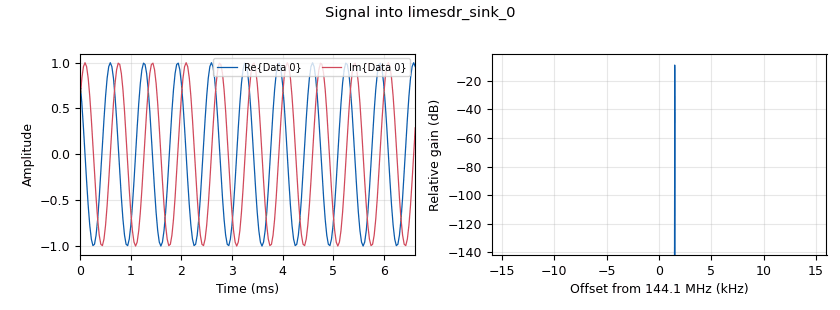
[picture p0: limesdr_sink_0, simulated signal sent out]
options:
  parameters:
    generate_options: qt_gui
    id: sine1k_gui
    output_language: python
    run_options: run
    title: Not titled yet
  states: {}

blocks:
- name: freq
  id: variable_qtgui_range
  parameters:
    orient: Qt.Horizontal
    start: '144000000'
    step: '1000'
    stop: '144500000'
    value: '144100000'
  states: {}
- name: gain
  id: variable_qtgui_range
  parameters:
    orient: Qt.Horizontal
    start: '0'
    step: '1'
    stop: '73'
    value: '14'
  states: {}
- name: mute
  id: variable_qtgui_check_box
  parameters:
    'false': 'False'
    label: mute
    'true': 'True'
    type: int
    value: 'False'
  states: {}
- name: nco
  id: variable_qtgui_range
  parameters:
    orient: Qt.Horizontal
    start: '-1000'
    step: '1'
    stop: '1000'
    value: '0'
  states: {}
- name: samp_rate
  id: variable
  parameters:
    value: '32000'
  states: {}
- name: analog_sig_source_x_0
  id: analog_sig_source_x
  parameters:
    amp: '1'
    freq: '1500'
    offset: '0'
    phase: '0'
    samp_rate: samp_rate
    type: complex
    waveform: analog.GR_COS_WAVE
  states: {}
- name: blocks_mute_xx_0
  id: blocks_mute_xx
  parameters:
    mute: mute
    type: complex
  states: {}
- name: dc_blocker_xx_0
  id: dc_blocker_xx
  parameters:
    length: '32'
    long_form: 'True'
    type: cc
  states: {}
- name: limesdr_sink_0
  id: limesdr_sink
  parameters:
    allow_tcxo_dac: '0'
    channel_mode: '0'
    gain_dB_ch0: gain
    gain_dB_ch1: '10'
    nco_freq_ch0: nco
    oversample: '0'
    rf_freq: freq
    samp_rate: samp_rate
    serial: 1D5882F9FB64B6
  states: {}

connections:
- [analog_sig_source_x_0, '0', dc_blocker_xx_0, '0']
- [blocks_mute_xx_0, '0', limesdr_sink_0, '0']
- [dc_blocker_xx_0, '0', blocks_mute_xx_0, '0']

metadata:
  file_format: 1
